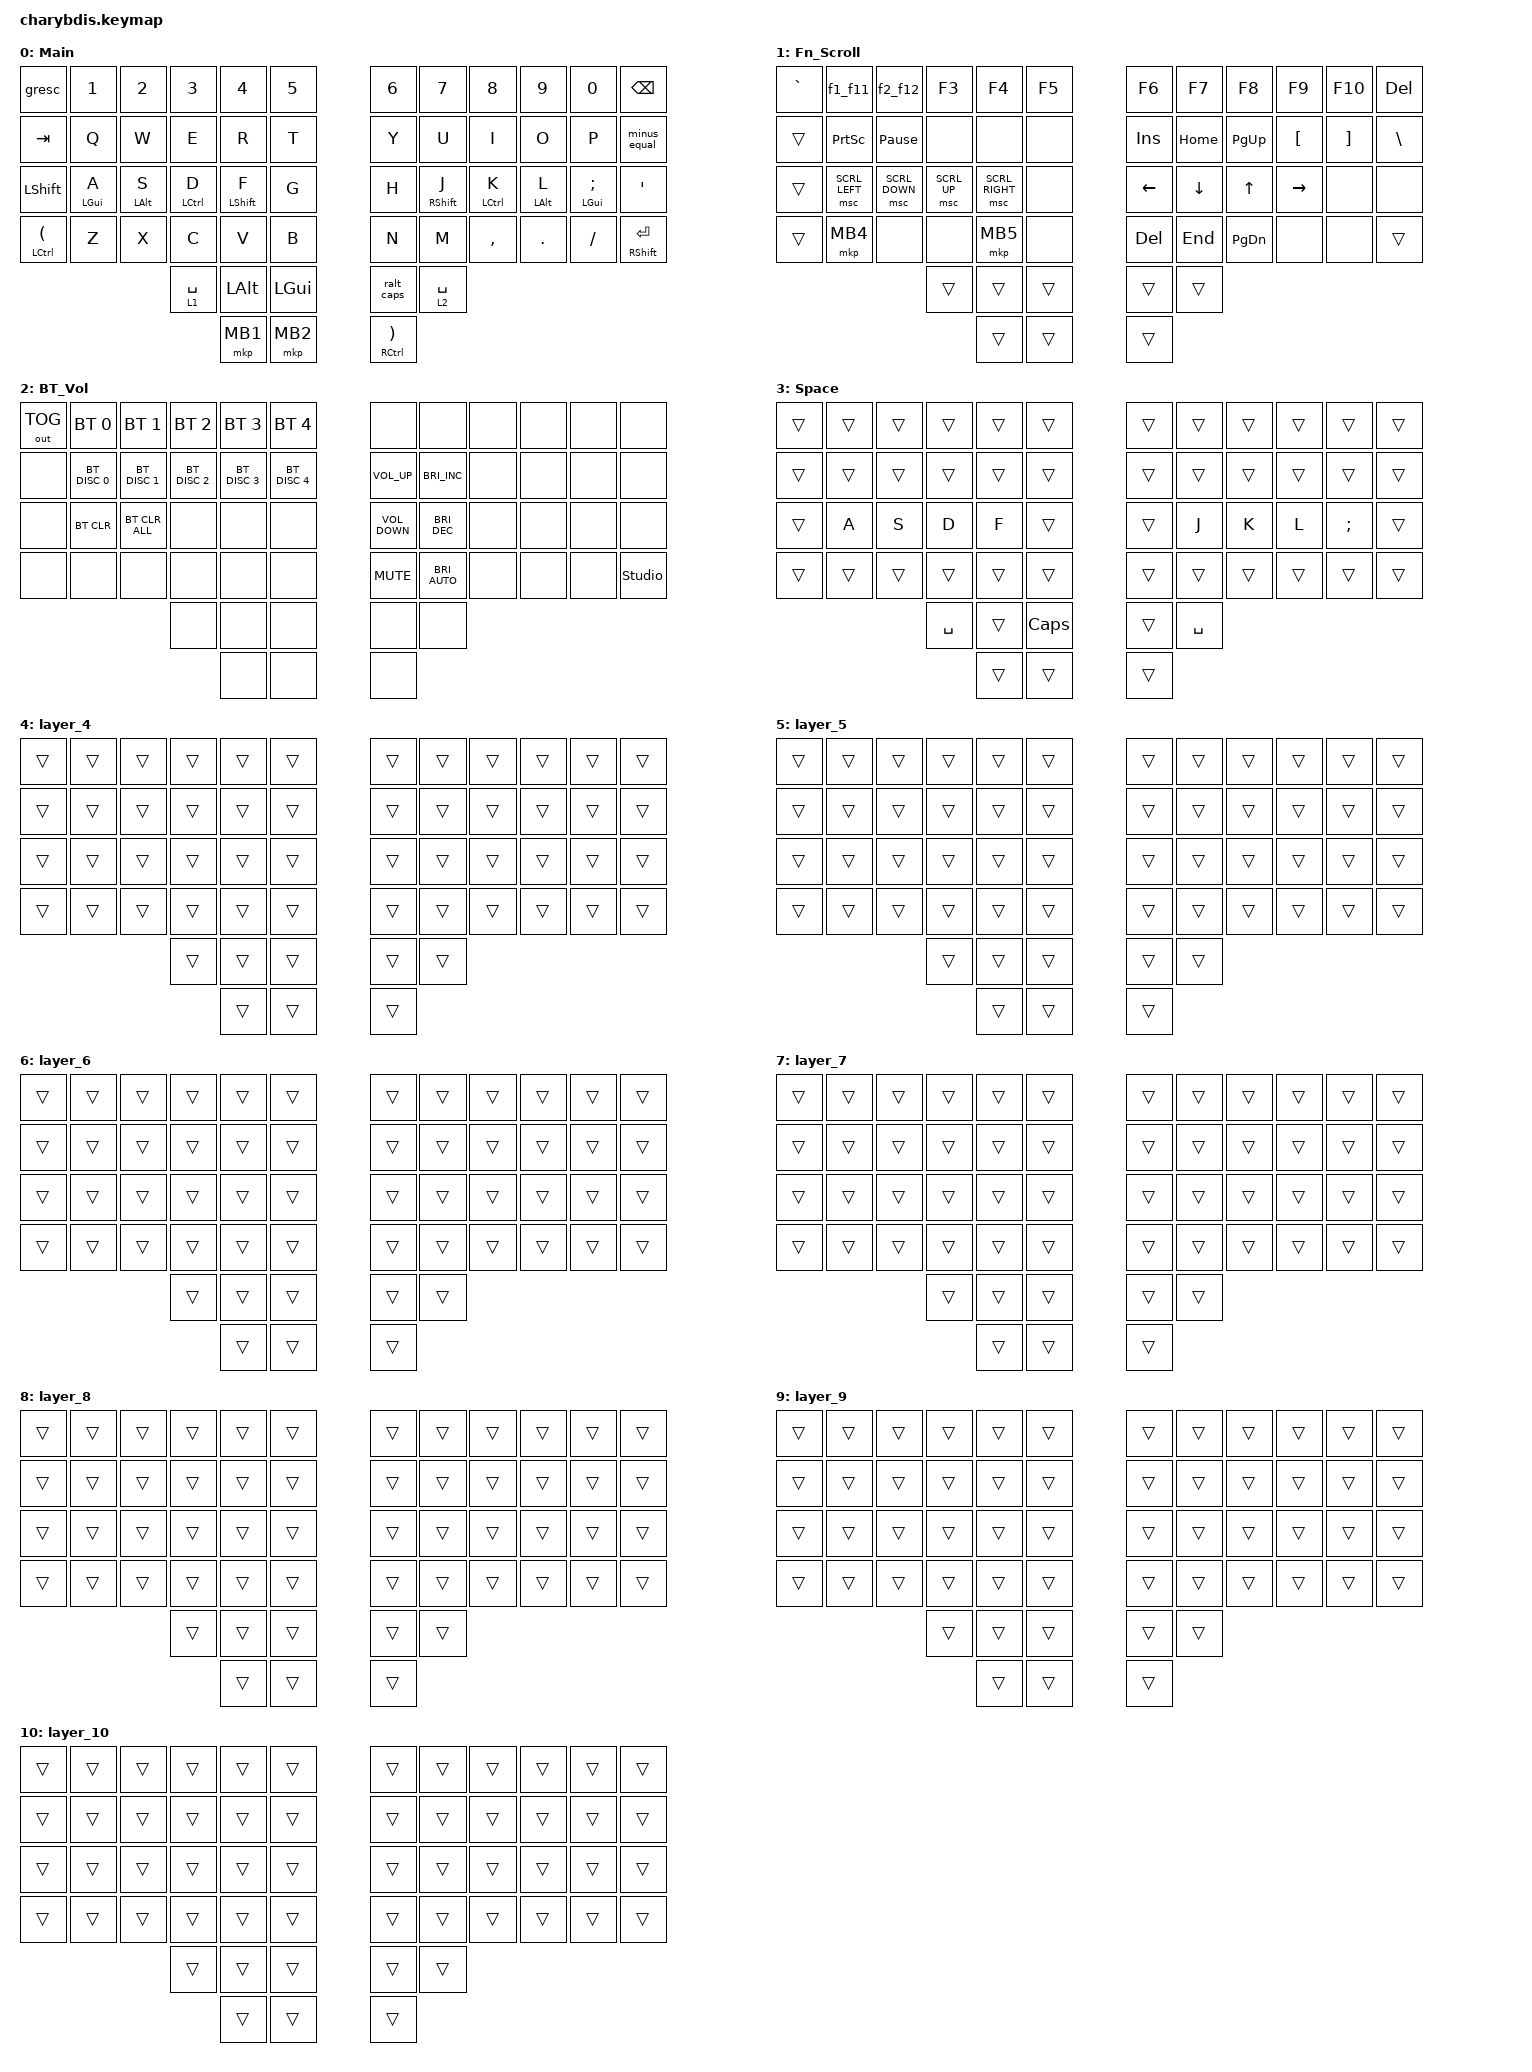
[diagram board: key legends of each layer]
#include <dt-bindings/zmk/mouse.h>
#include <input/processors.dtsi>
#include <zephyr/dt-bindings/input/input-event-codes.h>
#include <behaviors.dtsi>
#include <dt-bindings/zmk/bt.h>
#include <dt-bindings/zmk/keys.h>
#include <dt-bindings/zmk/outputs.h>
#include <dt-bindings/zmk/pointing.h>

#define ZMK_POINTING_DEFAULT_MOVE_VAL 1000 // 600
#define ZMK_POINTING_DEFAULT_SCRL_VAL 12   // 10

&lt {
    tapping-term-ms = <200>;
    flavor = "balanced";
    quick-tap-ms = <150>;
};

&mmv_input_listener { input-processors = <&zip_xy_scaler 2 1>; };

&msc_input_listener { input-processors = <&zip_scroll_scaler 2 1>; };

&msc {
    acceleration-exponent = <0>;      // 0
    time-to-max-speed-ms = <0>;       // 300
    delay-ms = <0>;                   // 0
};

&mmv {
    time-to-max-speed-ms = <500>;
    acceleration-exponent = <1>;
    trigger-period-ms = <16>;
};

&mt {
    tapping-term-ms = <200>;
    flavor = "balanced";
    quick-tap-ms = <200>;
    require-prior-idle-ms = <150>;
};

/ {
    minus_equal: minus_equal {
        compatible = "zmk,behavior-tap-dance";
        label = "MINUS_EQUAL";
        #binding-cells = <0>;
        bindings = <&kp MINUS>, <&kp EQUAL>;
    };

    ralt_caps: ralt_caps {
        compatible = "zmk,behavior-tap-dance";
        label = "RALT_CAPS";
        #binding-cells = <0>;
        bindings = <&kp RIGHT_ALT>, <&kp CAPSLOCK>;
    };

    f1_f11: f1_f11 {
        compatible = "zmk,behavior-tap-dance";
        label = "F1_F11";
        #binding-cells = <0>;
        bindings = <&kp F1>, <&kp F11>;
    };

    f2_f12: f2_f12 {
        compatible = "zmk,behavior-tap-dance";
        label = "F2_F12";
        #binding-cells = <0>;
        bindings = <&kp F2>, <&kp F12>;
    };

    toggle_layer3: toggle_layer3 {
        compatible = "zmk,behavior-toggle-layer";
        label = "TOGGLE_LAYER3";
        #binding-cells = <1>;
    };

    behaviors {
    };

    combos {
        compatible = "zmk,combos";

        toggle_layer3 {
            bindings = <&toggle_layer3 3>;
            key-positions = <11 9>;
        };
    };

    keymap {
        compatible = "zmk,keymap";

        layer_0_main {
            display-name = "Main";
            bindings = <
&gresc                      &kp N1      &kp N2          &kp N3              &kp N4            &kp N5          &kp N6                       &kp N7             &kp N8              &kp N9          &kp N0             &kp BACKSPACE
&kp TAB                     &kp Q       &kp W           &kp E               &kp R             &kp T           &kp Y                        &kp U              &kp I               &kp O           &kp P              &minus_equal
&kp LEFT_SHIFT              &mt LGUI A  &mt LEFT_ALT S  &mt LEFT_CONTROL D  &mt LEFT_SHIFT F  &kp G           &kp H                        &mt RIGHT_SHIFT J  &mt LEFT_CONTROL K  &mt LEFT_ALT L  &mt LEFT_GUI SEMI  &kp SQT
&mt LCTRL LEFT_PARENTHESIS  &kp Z       &kp X           &kp C               &kp V             &kp B           &kp N                        &kp M              &kp COMMA           &kp PERIOD      &kp FSLH           &mt RIGHT_SHIFT ENTER
                                                        &lt 1 SPACE         &kp LEFT_ALT      &kp LEFT_GUI    &ralt_caps                   &lt 2 SPACE
                                                                            &mkp MB1          &mkp MB2        &mt RCTRL RIGHT_PARENTHESIS
            >;
        };

        layer_1_fn_scroll {
            display-name = "Fn_Scroll";
            bindings = <
&kp GRAVE  &f1_f11          &f2_f12          &kp F3        &kp F4           &kp F5    &kp F6          &kp F7          &kp F8         &kp F9            &kp F10            &kp DELETE
&trans     &kp PRINTSCREEN  &kp PAUSE_BREAK  &none         &none            &none     &kp INSERT      &kp HOME        &kp PAGE_UP    &kp LEFT_BRACKET  &kp RIGHT_BRACKET  &kp BACKSLASH
&trans     &msc SCRL_LEFT   &msc SCRL_DOWN   &msc SCRL_UP  &msc SCRL_RIGHT  &none     &kp LEFT_ARROW  &kp DOWN_ARROW  &kp UP_ARROW   &kp RIGHT         &none              &none
&trans     &mkp MB4         &none            &none         &mkp MB5         &none     &kp DELETE      &kp END         &kp PAGE_DOWN  &none             &none              &trans
                                             &trans        &trans           &trans    &trans          &trans
                                                           &trans           &trans    &trans
            >;
        };

        layer_2_bt_vol {
            display-name = "BT_Vol";
            bindings = <
&out OUT_TOG  &bt BT_SEL 0   &bt BT_SEL 1    &bt BT_SEL 2   &bt BT_SEL 3   &bt BT_SEL 4     &none              &none                  &none  &none  &none  &none
&none         &bt BT_DISC 0  &bt BT_DISC 1   &bt BT_DISC 2  &bt BT_DISC 3  &bt BT_DISC 4    &kp C_VOLUME_UP    &kp C_BRIGHTNESS_INC   &none  &none  &none  &none
&none         &bt BT_CLR     &bt BT_CLR_ALL  &none          &none          &none            &kp C_VOLUME_DOWN  &kp C_BRIGHTNESS_DEC   &none  &none  &none  &none
&none         &none          &none           &none          &none          &none            &kp C_MUTE         &kp C_BRIGHTNESS_AUTO  &none  &none  &none  &studio_unlock
                                             &none          &none          &none            &none              &none
                                                            &none          &none            &none
            >;
        };

        layer_3_space {
            display-name = "Space";
            bindings = <
&trans  &trans  &trans  &trans     &trans  &trans          &trans  &trans     &trans  &trans  &trans         &trans
&trans  &trans  &trans  &trans     &trans  &trans          &trans  &trans     &trans  &trans  &trans         &trans
&trans  &kp A   &kp S   &kp D      &kp F   &trans          &trans  &kp J      &kp K   &kp L   &kp SEMICOLON  &trans
&trans  &trans  &trans  &trans     &trans  &trans          &trans  &trans     &trans  &trans  &trans         &trans
                        &kp SPACE  &trans  &kp CAPSLOCK    &trans  &kp SPACE
                                   &trans  &trans          &trans
            >;
        };

        layer_4 {
            bindings = <
&trans  &trans  &trans  &trans  &trans  &trans    &trans  &trans  &trans  &trans  &trans  &trans
&trans  &trans  &trans  &trans  &trans  &trans    &trans  &trans  &trans  &trans  &trans  &trans
&trans  &trans  &trans  &trans  &trans  &trans    &trans  &trans  &trans  &trans  &trans  &trans
&trans  &trans  &trans  &trans  &trans  &trans    &trans  &trans  &trans  &trans  &trans  &trans
                        &trans  &trans  &trans    &trans  &trans
                                &trans  &trans    &trans
            >;
        };

        layer_5 {
            bindings = <
&trans  &trans  &trans  &trans  &trans  &trans    &trans  &trans  &trans  &trans  &trans  &trans
&trans  &trans  &trans  &trans  &trans  &trans    &trans  &trans  &trans  &trans  &trans  &trans
&trans  &trans  &trans  &trans  &trans  &trans    &trans  &trans  &trans  &trans  &trans  &trans
&trans  &trans  &trans  &trans  &trans  &trans    &trans  &trans  &trans  &trans  &trans  &trans
                        &trans  &trans  &trans    &trans  &trans
                                &trans  &trans    &trans
            >;
        };

        layer_6 {
            bindings = <
&trans  &trans  &trans  &trans  &trans  &trans    &trans  &trans  &trans  &trans  &trans  &trans
&trans  &trans  &trans  &trans  &trans  &trans    &trans  &trans  &trans  &trans  &trans  &trans
&trans  &trans  &trans  &trans  &trans  &trans    &trans  &trans  &trans  &trans  &trans  &trans
&trans  &trans  &trans  &trans  &trans  &trans    &trans  &trans  &trans  &trans  &trans  &trans
                        &trans  &trans  &trans    &trans  &trans
                                &trans  &trans    &trans
            >;
        };

        layer_7 {
            bindings = <
&trans  &trans  &trans  &trans  &trans  &trans    &trans  &trans  &trans  &trans  &trans  &trans
&trans  &trans  &trans  &trans  &trans  &trans    &trans  &trans  &trans  &trans  &trans  &trans
&trans  &trans  &trans  &trans  &trans  &trans    &trans  &trans  &trans  &trans  &trans  &trans
&trans  &trans  &trans  &trans  &trans  &trans    &trans  &trans  &trans  &trans  &trans  &trans
                        &trans  &trans  &trans    &trans  &trans
                                &trans  &trans    &trans
            >;
        };

        layer_8 {
            bindings = <
&trans  &trans  &trans  &trans  &trans  &trans    &trans  &trans  &trans  &trans  &trans  &trans
&trans  &trans  &trans  &trans  &trans  &trans    &trans  &trans  &trans  &trans  &trans  &trans
&trans  &trans  &trans  &trans  &trans  &trans    &trans  &trans  &trans  &trans  &trans  &trans
&trans  &trans  &trans  &trans  &trans  &trans    &trans  &trans  &trans  &trans  &trans  &trans
                        &trans  &trans  &trans    &trans  &trans
                                &trans  &trans    &trans
            >;
        };

        layer_9 {
            bindings = <
&trans  &trans  &trans  &trans  &trans  &trans    &trans  &trans  &trans  &trans  &trans  &trans
&trans  &trans  &trans  &trans  &trans  &trans    &trans  &trans  &trans  &trans  &trans  &trans
&trans  &trans  &trans  &trans  &trans  &trans    &trans  &trans  &trans  &trans  &trans  &trans
&trans  &trans  &trans  &trans  &trans  &trans    &trans  &trans  &trans  &trans  &trans  &trans
                        &trans  &trans  &trans    &trans  &trans
                                &trans  &trans    &trans
            >;
        };

        layer_10 {
            bindings = <
&trans  &trans  &trans  &trans  &trans  &trans    &trans  &trans  &trans  &trans  &trans  &trans
&trans  &trans  &trans  &trans  &trans  &trans    &trans  &trans  &trans  &trans  &trans  &trans
&trans  &trans  &trans  &trans  &trans  &trans    &trans  &trans  &trans  &trans  &trans  &trans
&trans  &trans  &trans  &trans  &trans  &trans    &trans  &trans  &trans  &trans  &trans  &trans
                        &trans  &trans  &trans    &trans  &trans
                                &trans  &trans    &trans
            >;
        };
    };
};
